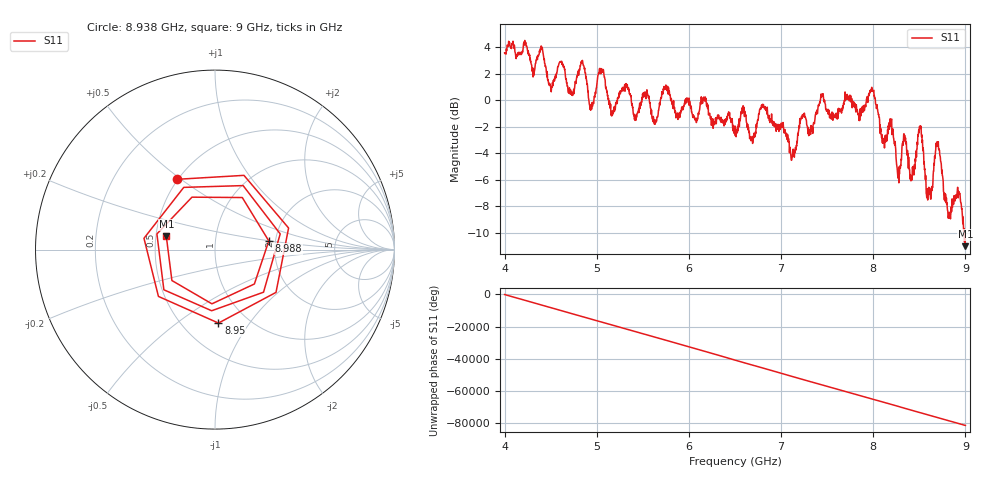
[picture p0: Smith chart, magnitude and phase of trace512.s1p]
! Created with skrf 1.8.0 (http://scikit-rf.org).
# Hz S RI R 50.0
!freq ReS11 ImS11
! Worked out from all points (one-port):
!   1601 points, 4 GHz to 9 GHz, reference 50 ohm
!   lowest |S11| = -11.0 dB at 9 GHz (marker M1), VSWR 1.78, Z = 28.4 + j4.52 ohm
!   |S11| at or under -10 dB: 8.985856 GHz to end of sweep
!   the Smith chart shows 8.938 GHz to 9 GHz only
!   S11 on the Smith chart (normalised r, x): 8.938 GHz: 0.49, +0.48; 8.95 GHz: 0.74, -0.72; 8.988 GHz: 1.84, +0.20; 9 GHz: 0.57, +0.09
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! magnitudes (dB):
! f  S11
! 4 GHz  3.6
! 4.4 GHz  4.0
! 4.5 GHz  1.0
! 4.625 GHz  2.8
! 4.719 GHz  0.5
! 4.844 GHz  3.0
! 4.941 GHz  -0.3
! 5.047 GHz  2.3
! 5.166 GHz  -0.8
! 5.25 GHz  0.7
! 5.875 GHz  -1.0
! 6.5 GHz  -1.9
! 6.809 GHz  -0.3
! 7.125 GHz  -4.1
! 7.438 GHz  0.2
! 7.75 GHz  0.2
! 7.988 GHz  0.8
! 8.272 GHz  -5.9
! 8.375 GHz  -4.4
! 8.425 GHz  -5.1
! 8.509 GHz  -2.0
! 8.6 GHz  -7.0
! 8.7 GHz  -3.5
! 8.816 GHz  -8.9
! 8.938 GHz  -7.0
! 8.95 GHz  -7.7
! 8.988 GHz  -10.4
! 9 GHz  -11.0
